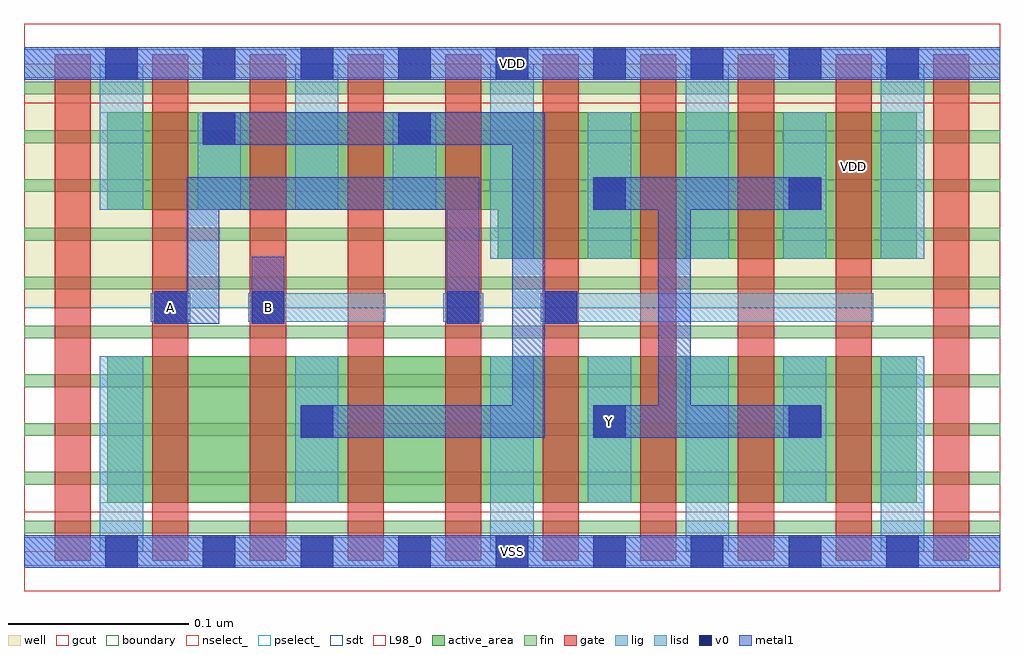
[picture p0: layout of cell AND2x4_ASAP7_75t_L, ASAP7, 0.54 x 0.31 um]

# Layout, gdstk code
import gdstk
lib = gdstk.Library(unit=1e-6, precision=2.5e-10)
def R(c, l, rs):  # rectangles x0, y0, x1, y1
    for r in rs: c.add(gdstk.rectangle(r[:2], r[2:], *l))
def A(c, l, x, y, w, h, nx, ny, dx, dy):  # array of equal rectangles
    R(c, l, [(x+i*dx, y+j*dy, x+i*dx+w, y+j*dy+h) for i in range(nx) for j in range(ny)])
def P(c, l, *ps):  # polygons
    for p in ps: c.add(gdstk.Polygon(p, *l))
well = (1, 0)
fin = (2, 0)
gate = (7, 0)
gcut = (10, 0)
active_area = (11, 0)
nselect_ = (12, 0)
pselect_ = (13, 0)
lig = (16, 0)
lisd = (17, 0)
v0 = (18, 0)
metal1 = (19, 0)
sdt = (88, 0)
L98_0 = (98, 0)
boundary = (100, 0)

and2x4_asap7_75t_l = lib.new_cell('AND2x4_ASAP7_75t_L')
R(and2x4_asap7_75t_l, well, [(0,0.135,0.54,0.27)])
A(and2x4_asap7_75t_l, fin, 0, 0.01, 0.54, 0.007, 1, 10, 0, 0.027)
A(and2x4_asap7_75t_l, gate, 0.017, -0.005, 0.02, 0.28, 10, 1, 0.054, 0)
R(and2x4_asap7_75t_l, gcut, [(0,-0.022,0.54,0.022), (0,0.248,0.54,0.292)])
R(and2x4_asap7_75t_l, active_area, [(0.046,0.027,0.494,0.108)])
P(and2x4_asap7_75t_l, active_area, [(0.262,0.162),(0.262,0.189),(0.046,0.189),(0.046,0.243),(0.494,0.243),(0.494,0.162)])
R(and2x4_asap7_75t_l, nselect_, [(0,0,0.54,0.135)])
R(and2x4_asap7_75t_l, pselect_, [(0,0.135,0.54,0.27)])
R(and2x4_asap7_75t_l, lig, [(0,-0.008,0.54,0.008), (0.07,0.127,0.092,0.143), (0.124,0.127,0.2,0.143), (0.232,0.127,0.254,0.143), (0.286,0.127,0.47,0.143), (0,0.262,0.54,0.278)])
A(and2x4_asap7_75t_l, lisd, 0.258, 0, 0.024, 0.108, 3, 2, 0.108, 0.162)
R(and2x4_asap7_75t_l, lisd, [(0.042,0,0.066,0.108), (0.15,0.027,0.174,0.108), (0.312,0.027,0.336,0.108), (0.42,0.027,0.444,0.108), (0.312,0.162,0.336,0.243), (0.42,0.162,0.444,0.243), (0.042,0.189,0.066,0.27), (0.096,0.189,0.12,0.243), (0.15,0.189,0.174,0.27), (0.204,0.189,0.228,0.243)])
A(and2x4_asap7_75t_l, v0, 0.045, -0.009, 0.018, 0.018, 9, 2, 0.054, 0.27)
R(and2x4_asap7_75t_l, v0, [(0.153,0.063,0.171,0.081), (0.315,0.063,0.333,0.081), (0.423,0.063,0.441,0.081), (0.072,0.126,0.09,0.144), (0.126,0.126,0.144,0.144), (0.234,0.126,0.252,0.144), (0.288,0.126,0.306,0.144), (0.315,0.189,0.333,0.207), (0.423,0.189,0.441,0.207), (0.099,0.225,0.117,0.243), (0.207,0.225,0.225,0.243)])
R(and2x4_asap7_75t_l, metal1, [(0,-0.009,0.54,0.009), (0.126,0.126,0.144,0.163), (0,0.261,0.54,0.279)])
P(and2x4_asap7_75t_l, metal1, [(0.315,0.063),(0.315,0.081),(0.351,0.081),(0.351,0.189),(0.315,0.189),(0.315,0.207),(0.441,0.207),(0.441,0.189),(0.369,0.189),(0.369,0.081),(0.441,0.081),(0.441,0.063)],
  [(0.072,0.126),(0.072,0.144),(0.09,0.144),(0.09,0.207),(0.252,0.207),(0.252,0.126),(0.234,0.126),(0.234,0.189),(0.108,0.189),(0.108,0.126)],
  [(0.153,0.063),(0.153,0.081),(0.27,0.081),(0.27,0.225),(0.099,0.225),(0.099,0.243),(0.288,0.243),(0.288,0.144),(0.306,0.144),(0.306,0.126),(0.288,0.126),(0.288,0.063)])
A(and2x4_asap7_75t_l, sdt, 0.042, 0.027, 0.024, 0.081, 3, 1, 0.108, 0)
A(and2x4_asap7_75t_l, sdt, 0.312, 0.027, 0.024, 0.081, 4, 1, 0.054, 0)
A(and2x4_asap7_75t_l, sdt, 0.258, 0.162, 0.024, 0.081, 5, 1, 0.054, 0)
A(and2x4_asap7_75t_l, sdt, 0.042, 0.189, 0.024, 0.054, 4, 1, 0.054, 0)
R(and2x4_asap7_75t_l, L98_0, [(0,0,0.54,0.27)])
R(and2x4_asap7_75t_l, boundary, [(0,0,0.54,0.27)])
and2x4_asap7_75t_l.add(gdstk.Label('A', (0.081,0.135), layer=19, texttype=251))
and2x4_asap7_75t_l.add(gdstk.Label('B', (0.135,0.135), layer=19, texttype=251))
and2x4_asap7_75t_l.add(gdstk.Label('Y', (0.324,0.072), layer=19, texttype=251))
and2x4_asap7_75t_l.add(gdstk.Label('VSS', (0.27,0), layer=19, texttype=251))
and2x4_asap7_75t_l.add(gdstk.Label('VDD', (0.27,0.27), layer=19, texttype=251))
and2x4_asap7_75t_l.add(gdstk.Label('VDD', (0.459,0.213), layer=1, texttype=251))
and2x4_asap7_75t_l.add(gdstk.Label('VSS', (0.621,0.213), layer=3, texttype=251))

lib.write_gds('AND2x4_ASAP7_75t_L.gds')
